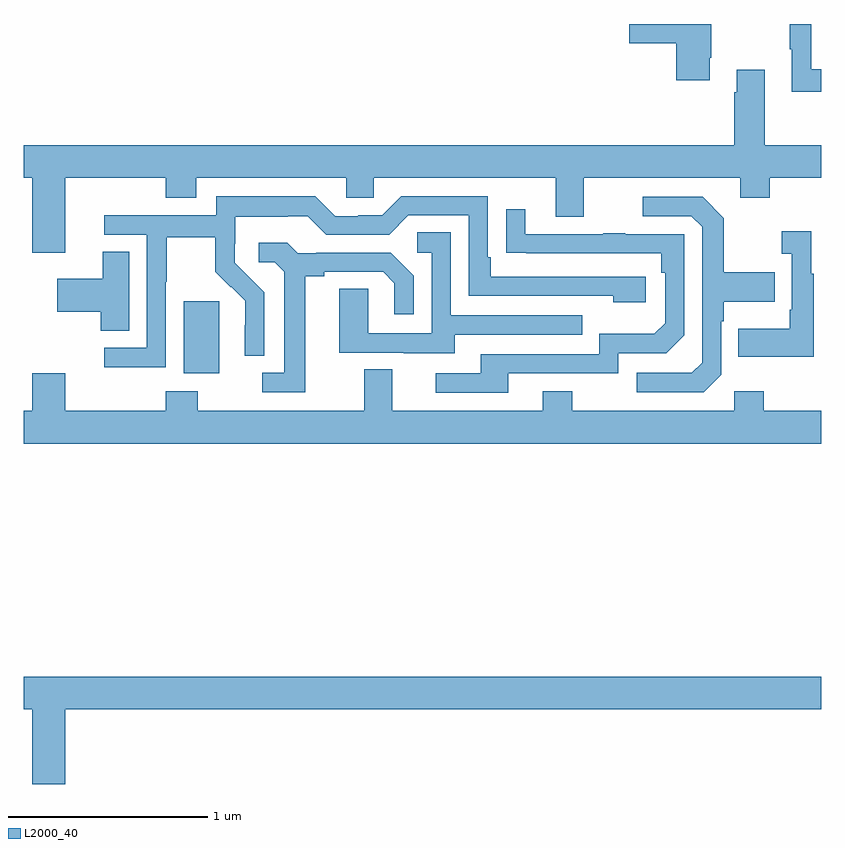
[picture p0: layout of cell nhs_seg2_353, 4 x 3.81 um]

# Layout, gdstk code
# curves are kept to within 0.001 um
import gdstk
lib = gdstk.Library(unit=1e-6, precision=1e-09)
def R(c, l, rs):  # rectangles x0, y0, x1, y1
    for r in rs: c.add(gdstk.rectangle(r[:2], r[2:], *l))
def P(c, l, *ps):  # polygons
    for p in ps: c.add(gdstk.Polygon(p, *l))
L2000_40 = (2000, 40)

nhs_seg2_353 = lib.new_cell('nhs_seg2_353')
R(nhs_seg2_353, L2000_40, [(129.803,588.05,129.982,588.411)])
P(nhs_seg2_353, L2000_40, [(132.439,589.63),(132.447,589.63),(132.447,589.8),(132.036,589.8),(132.036,589.703),(132.272,589.703),(132.272,589.518),(132.439,589.518)],
  [(133,589.574),(132.948,589.574),(132.948,589.8),(132.84,589.8),(132.84,589.673),(132.851,589.673),(132.851,589.461),(133,589.461)],
  [(129.208,589.028),(129.713,589.028),(129.713,588.929),(129.865,588.929),(129.865,589.028),(130.617,589.028),(130.617,588.93),(130.755,588.93),(130.755,589.028),(131.669,589.028),(131.669,588.834),(131.809,588.834),(131.809,589.028),(132.593,589.028),(132.593,588.929),(132.741,588.929),(132.741,589.028),(133,589.028),(133,589.192),(132.715,589.192),(132.715,589.57),(132.575,589.57),(132.575,589.457),(132.563,589.457),(132.563,589.192),(129,589.192),(129,589.028),(129.044,589.028),(129.044,588.654),(129.208,588.654)],
  [(129.714,588.508),(129.717,588.508),(129.717,588.732),(129.961,588.732),(129.961,588.557),(130.038,588.48),(130.041,588.483),(130.112,588.413),(130.112,588.29),(130.11,588.29),(130.11,588.136),(130.206,588.136),(130.206,588.454),(130.06,588.602),(130.06,588.699),(130.062,588.699),(130.062,588.833),(130.325,588.833),(130.325,588.837),(130.425,588.837),(130.518,588.744),(130.833,588.744),(130.929,588.84),(131.232,588.84),(131.232,588.438),(131.957,588.438),(131.957,588.404),(132.118,588.404),(132.118,588.534),(131.341,588.534),(131.341,588.631),(131.328,588.631),(131.328,588.936),(130.893,588.936),(130.797,588.84),(130.679,588.84),(130.679,588.837),(130.563,588.837),(130.463,588.937),(129.966,588.937),(129.966,588.84),(129.405,588.84),(129.405,588.744),(129.618,588.744),(129.618,588.177),(129.405,588.177),(129.405,588.079),(129.714,588.079)],
  [(132.498,588.042),(132.498,588.311),(132.511,588.311),(132.511,588.407),(132.767,588.407),(132.767,588.555),(132.511,588.555),(132.511,588.827),(132.405,588.933),(132.105,588.933),(132.105,588.837),(132.348,588.837),(132.402,588.783),(132.402,588.102),(132.351,588.051),(132.075,588.051),(132.075,587.955),(132.411,587.955)],
  [(131.431,588.048),(131.982,588.048),(131.982,588.15),(132.222,588.15),(132.312,588.24),(132.312,588.747),(132.017,588.747),(132.017,588.752),(131.905,588.752),(131.905,588.747),(131.515,588.747),(131.515,588.871),(131.419,588.871),(131.419,588.652),(132.196,588.651),(132.196,588.554),(132.216,588.554),(132.216,588.3),(132.163,588.247),(131.886,588.247),(131.886,588.144),(131.291,588.144),(131.291,588.048),(131.067,588.048),(131.067,587.952),(131.431,587.952)],
  [(132.961,588.547),(132.949,588.547),(132.949,588.76),(132.801,588.76),(132.801,588.647),(132.852,588.647),(132.852,588.367),(132.84,588.367),(132.84,588.271),(132.583,588.271),(132.583,588.131),(132.961,588.131)],
  [(131.161,588.243),(131.801,588.243),(131.801,588.339),(131.142,588.339),(131.142,588.755),(130.974,588.755),(130.974,588.654),(131.046,588.654),(131.046,588.249),(130.728,588.249),(130.728,588.473),(130.583,588.473),(130.583,588.153),(130.907,588.153),(130.907,588.149),(131.161,588.149)],
  [(130.411,588.536),(130.507,588.536),(130.507,588.558),(130.802,588.558),(130.859,588.501),(130.859,588.345),(130.956,588.345),(130.956,588.538),(130.84,588.654),(130.468,588.654),(130.468,588.651),(130.374,588.651),(130.322,588.703),(130.179,588.703),(130.179,588.606),(130.26,588.606),(130.307,588.559),(130.307,588.051),(130.197,588.051),(130.197,587.955),(130.411,587.955)],
  [(129.529,588.659),(129.398,588.659),(129.398,588.523),(129.168,588.523),(129.168,588.358),(129.386,588.358),(129.386,588.262),(129.529,588.262)],
  [(133,587.86),(132.711,587.86),(132.711,587.959),(132.564,587.959),(132.564,587.86),(131.751,587.86),(131.751,587.959),(131.603,587.959),(131.603,587.86),(130.849,587.86),(130.849,588.068),(130.709,588.068),(130.709,587.86),(129.873,587.86),(129.873,587.959),(129.713,587.959),(129.713,587.86),(129.208,587.86),(129.208,588.049),(129.044,588.049),(129.044,587.86),(129,587.86),(129,587.696),(133,587.696)],
  [(129.208,586.364),(133,586.364),(133,586.528),(129,586.528),(129,586.364),(129.044,586.364),(129.044,585.99),(129.208,585.99)])

lib.write_gds('nhs_seg2_353.gds')
